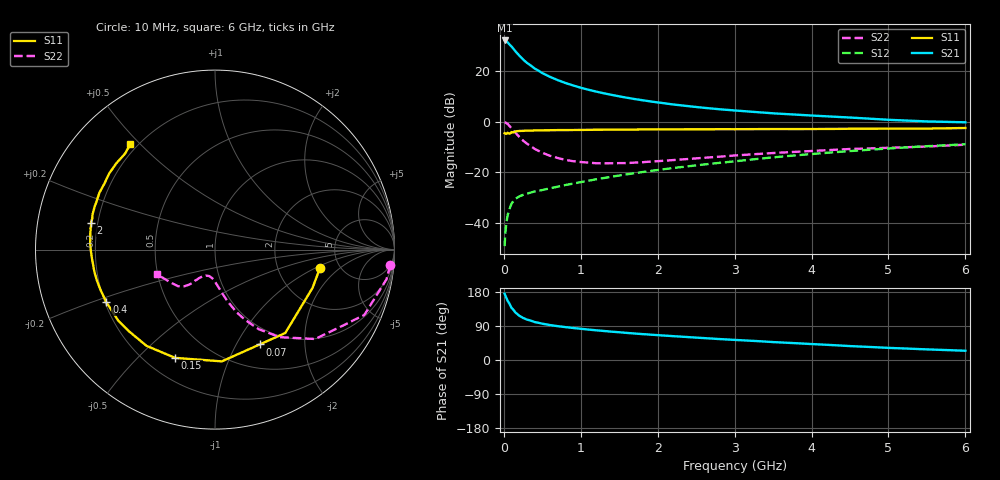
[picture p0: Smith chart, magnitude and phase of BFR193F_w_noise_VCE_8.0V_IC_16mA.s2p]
! Infineon Technologies  Discrete & RF Semiconductors
! BFR193F
! VCE =  8.0 V,  IC =  16 mA
! Common Emitter S-Parameters:  Jan 2017
# GHz  S  MA  R  50
!  f  S11  S21  S12  S22
! GHz  MAG  ANG  MAG  ANG  MAG  ANG  MAG  ANG
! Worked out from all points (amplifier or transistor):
!   77 points, 10 MHz to 6 GHz, reference 50 ohm
!   highest |S21| = 32.1 dB at 10 MHz (marker M1)
!   |S21| within 3 dB of that: start of sweep to 116.8 MHz
!   unconditionally stable (mu >= 1): 1.402 GHz to 2.769 GHz
!   at 130 MHz: K = 0.24, MSG = 29.9 dB, |S12| = -31.1 dB
!   at 2.2 GHz: K = 1.03, MAG = 11.5 dB, |S12| = -18.3 dB
!   at 6 GHz: K = 0.82, MSG = 4.3 dB, |S12| = -8.9 dB
!   lowest NFmin = 0.97 dB at 450 MHz
!   S11 on the Smith chart (normalised r, x): 10 MHz: 3.53, -1.13; 70 MHz: 0.78, -1.25; 150 MHz: 0.32, -0.65; 400 MHz: 0.21, -0.22; 2 GHz: 0.17, +0.10; 6 GHz: 0.17, +0.47
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0.01  0.5935 -10.1  40.18 175.0  0.0035 83.6  0.9809 -5.1
0.02  0.5837 -21.5  39.4 169.7  0.0065 81.1  0.9693 -9.9
0.05  0.6077 -49.9  36.96 156.0  0.0144 72.7  0.9079 -23.7
0.07  0.5842 -64.7  33.99 149.5  0.0181 64.2  0.8347 -30.1
0.1  0.6239 -86.5  30.56 137.6  0.0242 56.7  0.7486 -41.7
0.15  0.6427 -110.2  24.66 125.4  0.0302 50.1  0.6072 -53.5
0.2  0.6582 -125.4  20.26 116.9  0.0335 45.2  0.5048 -61.3
0.25  0.6606 -136.2  16.94 111.0  0.0361 44.5  0.4241 -66.9
0.3  0.6687 -143.6  14.55 106.7  0.038 43.6  0.3693 -71.0
0.4  0.6725 -154.1  11.25 100.2  0.0421 45.3  0.2911 -76.8
0.5  0.6763 -160.7  9.133 95.8  0.0449 47.0  0.2441 -80.9
0.6  0.6802 -165.5  7.69 92.2  0.0485 49.3  0.2127 -84.4
0.7  0.6833 -169.5  6.633 89.3  0.0523 51.5  0.1927 -87.4
0.9  0.6866 -175.3  5.201 84.5  0.0601 56.1  0.1663 -93.1
1.1  0.6918 -179.5  4.278 80.3  0.0685 59.3  0.1561 -98.3
1.5  0.6989 174.1  3.171 73.2  0.0869 64.1  0.1525 -107.4
2  0.7067 167.9  2.406 65.6  0.1115 67.6  0.1665 -115.7
2.1  0.7059 166.9  2.299 64.3  0.1166 68.1  0.1707 -116.6
3.1  0.7126 157.6  1.626 52.0  0.1717 70.4  0.2206 -123.7
4.1  0.7189 148.2  1.301 41.1  0.2369 68.8  0.2693 -130.8
5.1  0.7303 137.7  1.076 31.2  0.3028 64.5  0.3093 -144.2
6  0.7524 128.8  0.975 24.4  0.3587 59.4  0.3526 -157.2
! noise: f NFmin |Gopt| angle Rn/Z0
0.45  0.97  0.28  157  0.06
0.9  1.06  0.38  161  0.06
1.9  1.7  0.58  -173  0.06
2.4  2  0.61  -163  0.09
